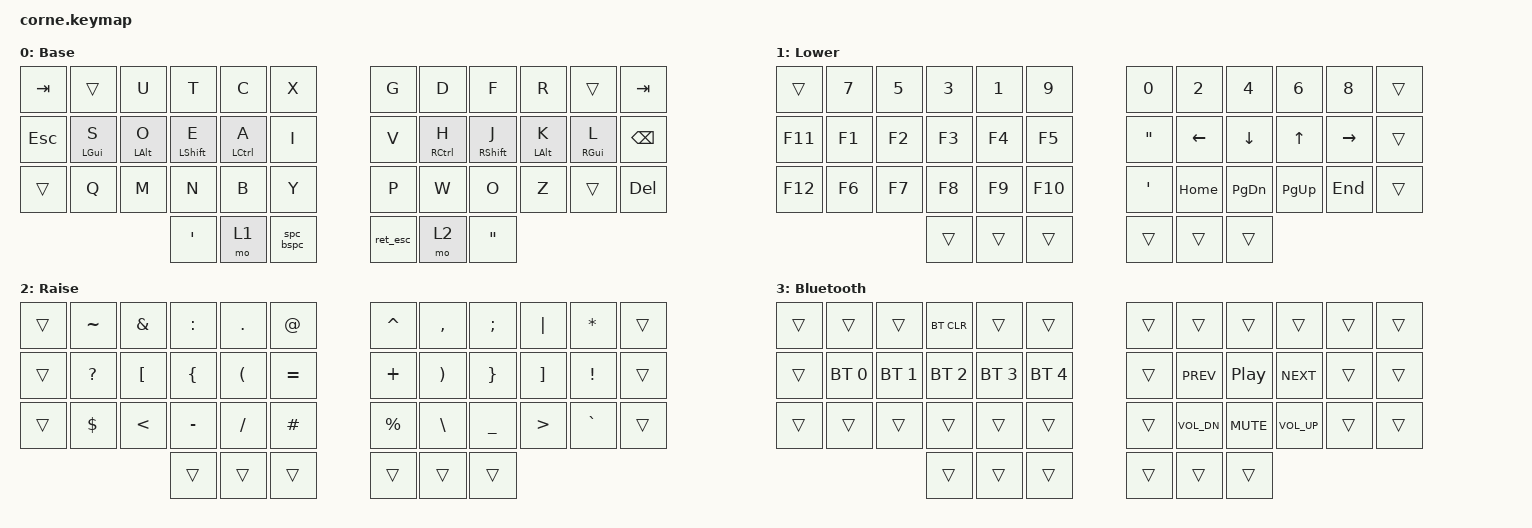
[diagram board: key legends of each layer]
/*
 * Copyright (c) 2020 The ZMK Contributors
 *
 * SPDX-License-Identifier: MIT
 */

#include <behaviors.dtsi>
#include <dt-bindings/zmk/keys.h>
#include <dt-bindings/zmk/bt.h>

// TAP_DANCE settings
#define TAP_SPEED 200

/ {
    behaviors {  
        ret_esc: ret_esc {
            compatible = "zmk,behavior-tap-dance";
            #binding-cells = <0>; 
            tapping-term-ms = <TAP_SPEED>; 
            bindings = <&kp RET>, <&kp ESC>;
            }; 
        spc_bspc: spc_bspc {
            compatible = "zmk,behavior-tap-dance";
            #binding-cells = <0>; 
            tapping-term-ms = <TAP_SPEED>; 
            bindings = <&kp SPC>, <&kp BSPC>;
            };
    };

    conditional_layers {
        compatible = "zmk,conditional-layers";
        tri_layer {
            if-layers = <1 2>;
            then-layer = <3>;
        };
    };

    keymap {
        compatible = "zmk,keymap";
        default_layer {
// -----------------------------------------------------------------------------------------
// |  TAB   |    _   |   U    |    T    |   C    |    X    |         |     G    |    D   |     F    |    R   |   _    | TAB |
// |  ESC   | S LGUI | O LALT | E LSHIT | A LCTL |    I    |         |     V    | H RCTL | J RSHIFT | K LALT | L RGUI | BKSP |
// |  _     |   Q    |   O    |    N    |   B    |    Y    |         |     P    |    W   |     O    |    M   |   Z    | DEL  |
//                            |    '    | LOWER  | SPC ESC |         | ENT BSPC |  RAISE |     "    | 
            display-name = "Base";
            bindings = <
   &kp TAB    &trans         &kp U        &kp T          &kp C         &kp X                   &kp G       &kp D         &kp F          &kp R        &trans        &kp TAB
   &kp ESC    &mt LGUI S     &mt LALT O   &mt LSHIFT E   &mt LCTRL A   &kp I                   &kp V       &mt RCTRL H   &mt RSHIFT J   &mt LALT K   &mt RGUI L    &kp BSPC
   &trans     &kp Q          &kp M        &kp N          &kp B         &kp Y                   &kp P       &kp W         &kp O          &kp Z        &trans        &kp DEL
                                          &kp SQT        &mo 1         &spc_bspc               &ret_esc    &mo 2         &kp DQT
            >;
        };
        lower_layer {
// -----------------------------------------------------------------------------------------
// |     |  7   |   5   |  3   |  1   |  9  |            |  0  |  2   |   4   |   6    |   8    |    |
// | F11 |  F1  |   F2  |  F3  |  F4  | F5  |            |  "  | LEFT | DOWN  |   UP   | RIGHT  |    |
// | F12 |  F6  |   F7  |  F8  |  F9  | F10 |            |  '  | HOME | PG_DN | PG_UP  |  END   |    |
//                      |      |  XX  |     |            |     |      |       |
            display-name = "Lower";
            bindings = <
   &trans    &kp N7   &kp N5   &kp N3   &kp N1   &kp N9         &kp N0   &kp N2     &kp N4      &kp N6      &kp N8   &trans
   &kp F11   &kp F1   &kp F2   &kp F3   &kp F4   &kp F5         &kp DQT   &kp LEFT   &kp DOWN    &kp UP      &kp RIGHT   &trans  
   &kp F12   &kp F6   &kp F7   &kp F8   &kp F9   &kp F10        &kp SQT   &kp HOME   &kp PG_DN   &kp PG_UP   &kp END     &trans   
                          	   &trans   &trans   &trans         &trans   &trans     &trans
            >;
        };

        raise_layer {
// -----------------------------------------------------------------------------------------
// |    |  ~  |  &  |  :  |  .  |  @  |       |  ^  |  ,  |  ;  |  |  |  *  |    |
// |    |  ?  |  [  |  {  |  (  |  =  |       |  +  |  )  |  }  |  ]  |  !  |    |
// |    |  $  |  <  |  -  |  /  |  #  |       |  %  |  \  |  _  |  >  |  `  |    |
//                  |     |     |     |       |     | XX  |     |
            display-name = "Raise";
            bindings = <
   &trans  &kp TILDE   &kp AMPS         &kp COLON   &kp PERIOD   &kp AT            &kp CARET   &kp COMMA       &kp SEMICOLON    &kp PIPE           &kp STAR   &trans
   &trans  &kp QMARK   &kp LBKT         &kp LBRC    &kp LPAR     &kp EQUAL         &kp PLUS    &kp RPAR        &kp RBRC         &kp RBKT           &kp EXCL   &trans    
   &trans  &kp DLLR    &kp LESS_THAN    &kp MINUS   &kp SLASH    &kp HASH          &kp PRCNT   &kp BACKSLASH   &kp UNDERSCORE   &kp GREATER_THAN   &kp GRAVE  &trans
                    	                &trans      &trans       &trans            &trans      &trans          &trans
            >;
        };


        bt_media_layer {
// -----------------------------------------------------------------------------------------
// |    |     |     | BCTL |     |     |        |    |      |            |      |    |    |
// |    | BT1 | BT2 | BT3  | BT4 | BT5 |        |    | PRV  | PLAY/PAUSE | NXT  |    |    |
// |    |     |     |      |     |     |        |    | VOL- | MUTE       | VOL+ |    |    |
//                  |      |     |     |        |    |      |            |
            display-name = "Bluetooth";
            bindings = <
   &trans    &trans         &trans         &bt BT_CLR     &trans         &trans                &trans    &trans          &trans        &trans         &trans   &trans     
   &trans    &bt BT_SEL 0   &bt BT_SEL 1   &bt BT_SEL 2   &bt BT_SEL 3   &bt BT_SEL 4          &trans    &kp C_PREV      &kp C_PP      &kp C_NEXT     &trans   &trans     
   &trans    &trans         &trans         &trans         &trans         &trans                &trans    &kp C_VOL_DN    &kp C_MUTE    &kp C_VOL_UP   &trans   &trans        
                          	               &trans         &trans         &trans                &trans    &trans          &trans                                      
            >;
        }; 
    };
};
